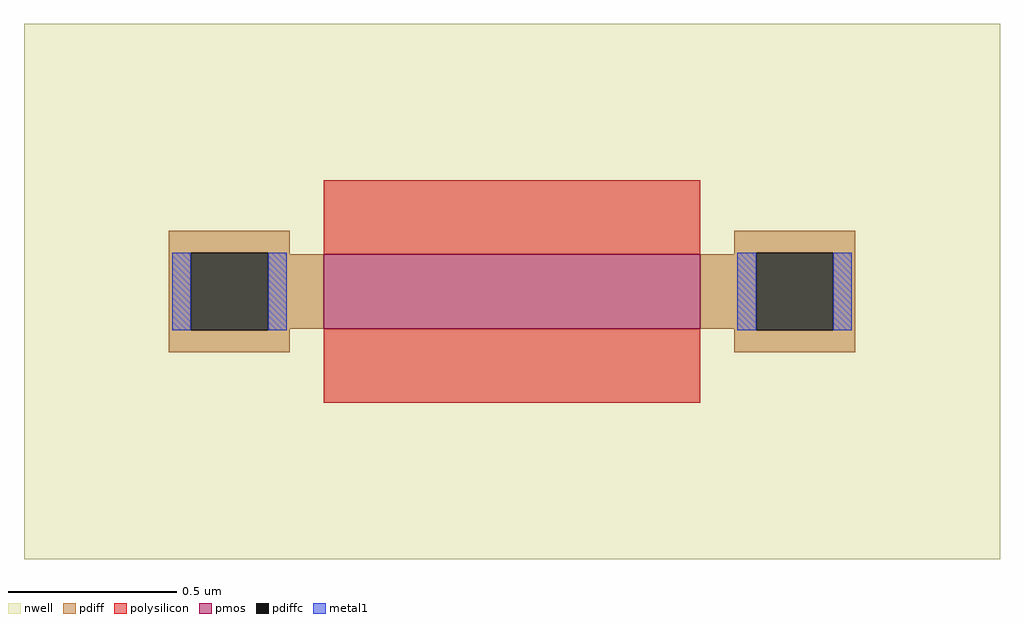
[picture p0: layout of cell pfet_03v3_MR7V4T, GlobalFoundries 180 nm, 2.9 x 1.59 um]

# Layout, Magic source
magic
tech gf180mcuD
magscale 1 10
<< nwell >>
rect -290 -159 290 159
<< pmos >>
rect -112 -22 112 22
<< pdiff >>
rect -204 23 -132 36
rect -204 -23 -191 23
rect -145 22 -132 23
rect 132 23 204 36
rect 132 22 145 23
rect -145 -22 -112 22
rect 112 -22 145 22
rect -145 -23 -132 -22
rect -204 -36 -132 -23
rect 132 -23 145 -22
rect 191 -23 204 23
rect 132 -36 204 -23
<< pdiffc >>
rect -191 -23 -145 23
rect 145 -23 191 23
<< polysilicon >>
rect -112 22 112 66
rect -112 -66 112 -22
<< metal1 >>
rect -202 -23 -191 23
rect -145 -23 -134 23
rect 134 -23 145 23
rect 191 -23 202 23
<< properties >>
string gencell pfet_03v3
string library gf180mcu
string parameters w 0.220 l 1.12 m 1 nf 1 diffcov 100 polycov 100 guard 0 glc 0 grc 0 gtc 0 gbc 0 tbcov 100 rlcov 100 topc 0 botc 0 poverlap 0 doverlap 0 lmin 0.28 wmin 0.22 class mosfet full_metal 0 compatible {pfet_03v3 pfet_05v0 pfet_06v0}
<< end >>
